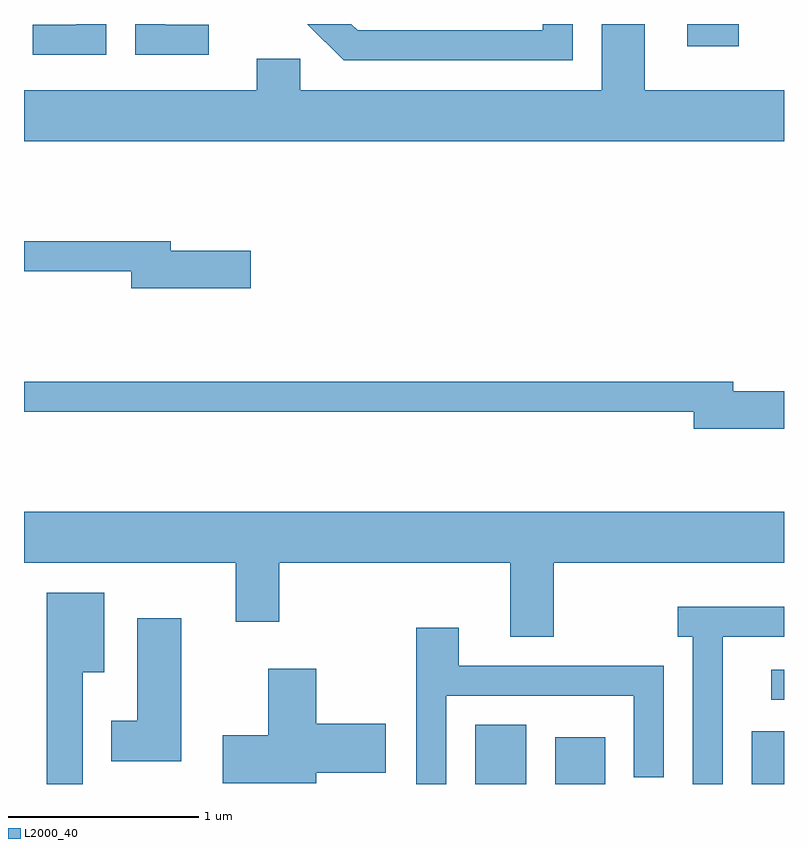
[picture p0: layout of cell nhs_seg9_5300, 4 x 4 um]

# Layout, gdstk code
import gdstk
lib = gdstk.Library(unit=1e-6, precision=1e-09)
def R(c, l, rs):  # rectangles x0, y0, x1, y1
    for r in rs: c.add(gdstk.rectangle(r[:2], r[2:], *l))
def P(c, l, *ps):  # polygons
    for p in ps: c.add(gdstk.Polygon(p, *l))
L2000_40 = (2000, 40)

nhs_seg9_5300 = lib.new_cell('nhs_seg9_5300')
R(nhs_seg9_5300, L2000_40, [(343.986,1988.432,344.254,1988.744), (344.406,1988.432,344.669,1988.679), (345.441,1988.432,345.611,1988.709), (345.543,1988.876,345.611,1989.034), (345.103,1992.316,345.374,1992.432)])
P(nhs_seg9_5300, L2000_40, [(344.499,1992.432),(344.341,1992.432),(344.341,1992.399),(343.367,1992.399),(343.334,1992.432),(343.103,1992.432),(343.294,1992.241),(344.499,1992.241)],
  [(345.611,1992.084),(344.879,1992.084),(344.879,1992.432),(344.651,1992.432),(344.651,1992.084),(343.064,1992.084),(343.064,1992.249),(342.836,1992.249),(342.836,1992.084),(341.611,1992.084),(341.611,1991.816),(345.611,1991.816)],
  [(342.583,1992.429),(342.354,1992.429),(342.354,1992.432),(342.196,1992.432),(342.196,1992.271),(342.583,1992.271)],
  [(342.044,1992.432),(341.886,1992.432),(341.886,1992.429),(341.658,1992.429),(341.658,1992.271),(342.044,1992.271)],
  [(342.804,1991.239),(342.384,1991.239),(342.384,1991.289),(341.611,1991.289),(341.611,1991.131),(342.176,1991.131),(342.176,1991.041),(342.804,1991.041)],
  [(345.611,1990.499),(345.344,1990.499),(345.344,1990.549),(341.611,1990.549),(341.611,1990.391),(345.136,1990.391),(345.136,1990.301),(345.611,1990.301)],
  [(344.399,1989.596),(345.611,1989.596),(345.611,1989.864),(341.611,1989.864),(341.611,1989.596),(342.726,1989.596),(342.726,1989.286),(342.954,1989.286),(342.954,1989.596),(344.171,1989.596),(344.171,1989.206),(344.399,1989.206)],
  [(341.919,1989.021),(342.034,1989.021),(342.034,1989.439),(341.731,1989.439),(341.731,1988.432),(341.919,1988.432)],
  [(345.289,1989.206),(345.611,1989.206),(345.611,1989.364),(345.053,1989.364),(345.053,1989.206),(345.131,1989.206),(345.131,1988.432),(345.289,1988.432)],
  [(342.439,1989.304),(342.206,1989.304),(342.206,1988.764),(342.071,1988.764),(342.071,1988.551),(342.439,1988.551)],
  [(343.834,1988.896),(344.821,1988.896),(344.821,1988.468),(344.979,1988.468),(344.979,1989.054),(343.899,1989.054),(343.899,1989.254),(343.676,1989.254),(343.676,1988.432),(343.834,1988.432)],
  [(343.149,1988.491),(343.514,1988.491),(343.514,1988.749),(343.149,1988.749),(343.149,1989.039),(342.896,1989.039),(342.896,1988.689),(342.656,1988.689),(342.656,1988.436),(343.149,1988.436)])

lib.write_gds('nhs_seg9_5300.gds')
